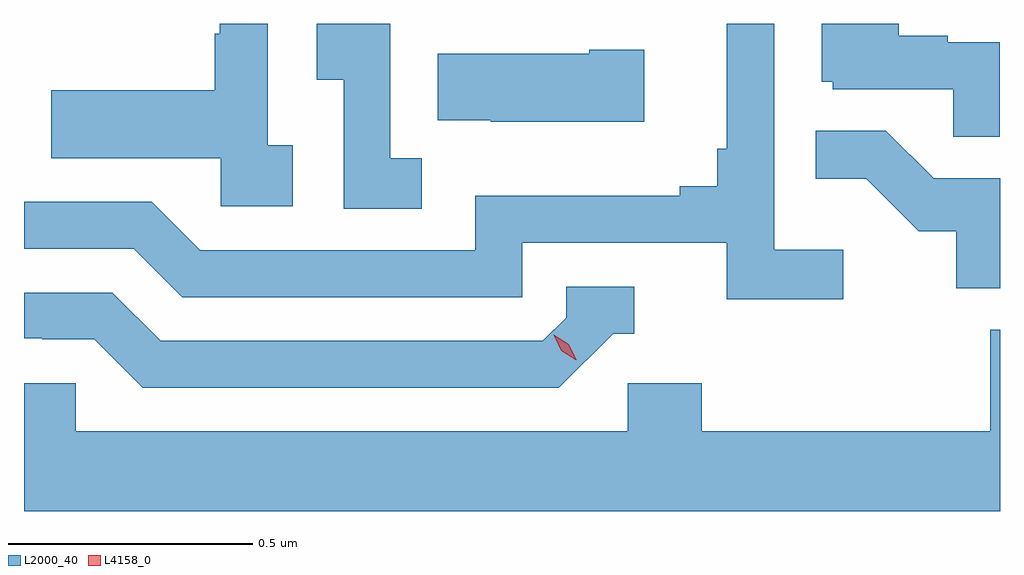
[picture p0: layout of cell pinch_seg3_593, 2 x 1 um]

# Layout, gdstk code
import gdstk
lib = gdstk.Library(unit=1e-6, precision=1e-09)
def P(c, l, *ps):  # polygons
    for p in ps: c.add(gdstk.Polygon(p, *l))
L2000_40 = (2000, 40)
L4158_0 = (4158, 0)

pinch_seg3_593 = lib.new_cell('pinch_seg3_593')
P(pinch_seg3_593, L2000_40, [(1063.156,690.796),(1063.014,690.796),(1063.014,691.259),(1062.917,691.259),(1062.917,691.003),(1062.898,691.003),(1062.898,690.926),(1062.821,690.926),(1062.821,690.907),(1062.402,690.907),(1062.402,690.795),(1061.838,690.795),(1061.739,690.894),(1061.477,690.894),(1061.477,690.798),(1061.702,690.798),(1061.801,690.699),(1062.498,690.699),(1062.498,690.81),(1062.917,690.81),(1062.917,690.694),(1063.156,690.694)],
  [(1062.028,691.01),(1061.976,691.01),(1061.976,691.259),(1061.878,691.259),(1061.878,691.238),(1061.868,691.238),(1061.868,691.123),(1061.533,691.123),(1061.533,690.983),(1061.88,690.983),(1061.88,690.885),(1062.028,690.885)],
  [(1062.292,690.983),(1062.228,690.983),(1062.228,691.259),(1062.077,691.259),(1062.077,691.144),(1062.132,691.144),(1062.132,690.88),(1062.292,690.88)],
  [(1063.476,691.221),(1063.37,691.221),(1063.37,691.234),(1063.27,691.234),(1063.27,691.259),(1063.112,691.259),(1063.112,691.14),(1063.134,691.14),(1063.134,691.125),(1063.381,691.125),(1063.381,691.027),(1063.476,691.027)],
  [(1062.748,691.206),(1062.635,691.206),(1062.635,691.198),(1062.325,691.198),(1062.325,691.061),(1062.433,691.061),(1062.433,691.058),(1062.748,691.058)],
  [(1063.477,690.942),(1063.341,690.942),(1063.243,691.04),(1063.099,691.04),(1063.099,690.941),(1063.203,690.941),(1063.31,690.834),(1063.387,690.834),(1063.387,690.717),(1063.477,690.717)],
  [(1062.684,690.624),(1062.727,690.624),(1062.727,690.72),(1062.588,690.72),(1062.588,690.657),(1062.54,690.609),(1061.757,690.609),(1061.658,690.708),(1061.477,690.708),(1061.477,690.615),(1061.514,690.615),(1061.514,690.612),(1061.621,690.612),(1061.72,690.513),(1062.573,690.513)],
  [(1063.477,690.632),(1063.457,690.632),(1063.457,690.424),(1062.866,690.424),(1062.866,690.522),(1062.714,690.522),(1062.714,690.424),(1061.583,690.424),(1061.583,690.522),(1061.477,690.522),(1061.477,690.26),(1063.477,690.26)])
P(pinch_seg3_593, L4158_0, [(1062.609,690.569),(1062.578,690.589),(1062.563,690.622),(1062.563,690.622),(1062.563,690.622),(1062.593,690.602),(1062.609,690.57),(1062.609,690.569)])

lib.write_gds('pinch_seg3_593.gds')
